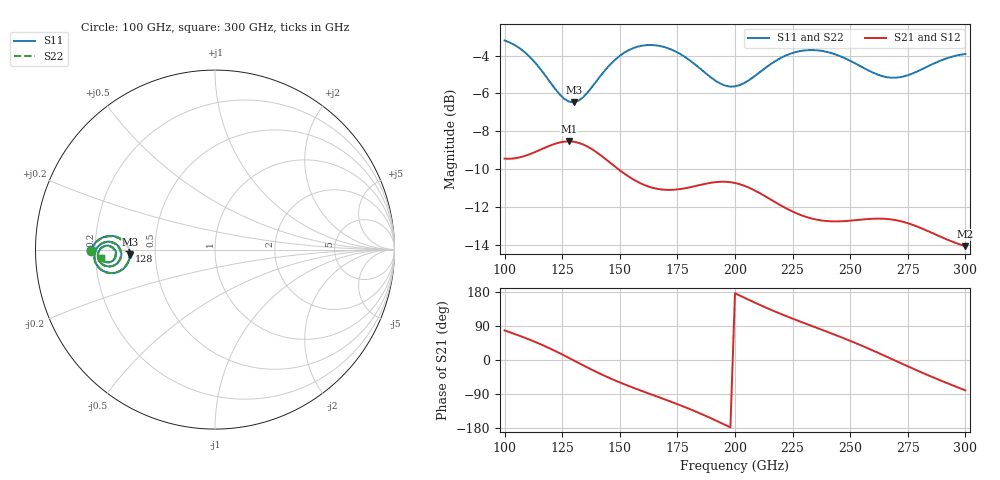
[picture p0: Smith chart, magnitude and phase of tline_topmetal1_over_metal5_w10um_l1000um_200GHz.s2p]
#  GHZ S DB R 50
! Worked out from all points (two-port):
!   101 points, 100 GHz to 300 GHz, reference 50 ohm
!   highest |S21| = -8.53 dB at 128 GHz (marker M1); lowest = -14.1 dB at 300 GHz (marker M2)
!   |S21| within 3 dB of the highest: start of sweep to 214.5 GHz
!   lowest |S11| = -6.5 dB at 130 GHz (marker M3), VSWR 2.81, Z = 17.8 - j1.31 ohm
!   |S11| at or under -10 dB: nowhere
!   |S22| runs from -6.4 to -3.2 dB; largest |S21 - S12| = 6e-14
!   S11 on the Smith chart (normalised r, x): 100 GHz: 0.18, -0.00; 128 GHz: 0.35, -0.00; 300 GHz: 0.22, -0.03
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100  -3.20 -179.6  -9.44 78.0  -9.44 78.0  -3.19 -179.4
108  -3.75 175.1  -9.33 60.4  -9.33 60.4  -3.73 175.3
116  -4.78 172.4  -8.95 40.5  -8.95 40.5  -4.75 172.6
122  -5.77 174.2  -8.65 23.6  -8.65 23.6  -5.72 174.4
128  -6.44 -179.3  -8.53 5.2  -8.53 5.2  -6.38 -179.2
130  -6.47 -176.6  -8.55 -1.1  -8.55 -1.1  -6.41 -176.5
134  -6.21 -171.4  -8.69 -13.8  -8.69 -13.8  -6.15 -171.4
140  -5.33 -167.3  -9.11 -32.0  -9.11 -32.0  -5.29 -167.3
148  -4.21 -168.1  -9.87 -54.1  -9.87 -54.1  -4.19 -168.1
158  -3.52 -173.3  -10.69 -78.2  -10.69 -78.2  -3.50 -173.3
168  -3.51 -179.0  -11.07 -100.5  -11.07 -100.5  -3.49 -178.9
184  -4.60 175.7  -10.86 -138.7  -10.86 -138.7  -4.57 175.8
192  -5.37 177.9  -10.68 -160.6  -10.68 -160.6  -5.33 178.0
200  -5.63 -176.4  -10.73 176.2  -10.73 176.2  -5.59 -176.3
208  -5.13 -171.7  -11.09 153.1  -11.09 153.1  -5.10 -171.7
216  -4.41 -171.1  -11.64 131.5  -11.64 131.5  -4.38 -171.1
234  -3.71 -177.2  -12.63 88.3  -12.63 88.3  -3.68 -177.1
250  -4.28 178.0  -12.72 50.5  -12.72 50.5  -4.24 178.2
260  -4.90 178.8  -12.62 24.6  -12.62 24.6  -4.86 179.0
268  -5.17 -178.0  -12.66 2.8  -12.66 2.8  -5.12 -177.9
284  -4.55 -173.2  -13.28 -40.7  -13.28 -40.7  -4.51 -173.2
300  -3.92 -175.9  -14.07 -80.1  -14.07 -80.1  -3.89 -176.0
